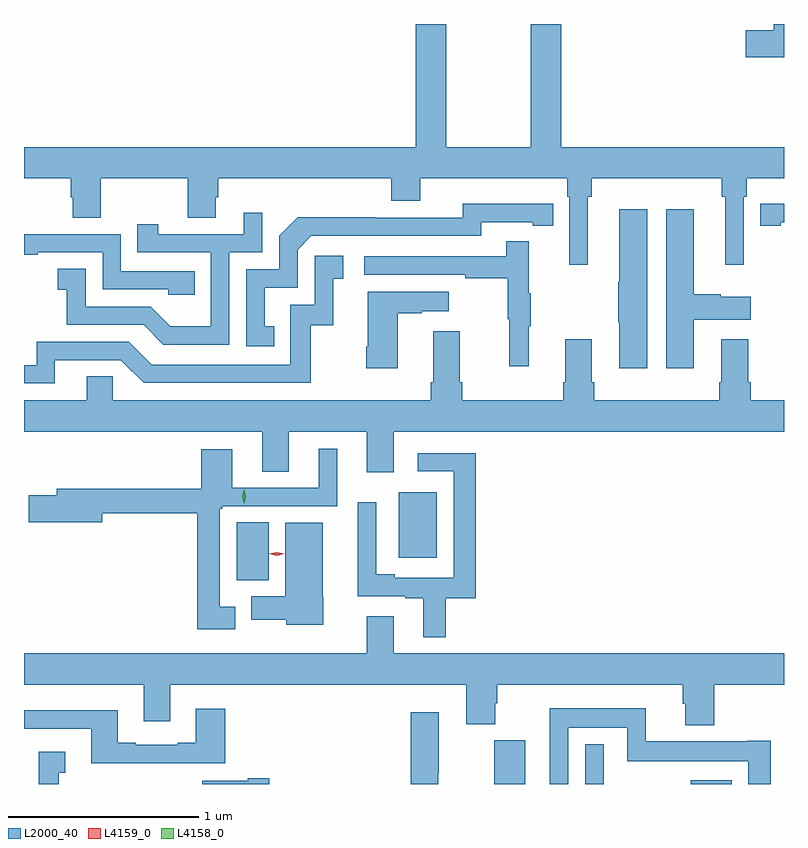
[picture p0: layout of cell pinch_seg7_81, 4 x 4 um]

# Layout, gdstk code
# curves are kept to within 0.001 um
import gdstk
lib = gdstk.Library(unit=1e-6, precision=1e-09)
def R(c, l, rs):  # rectangles x0, y0, x1, y1
    for r in rs: c.add(gdstk.rectangle(r[:2], r[2:], *l))
def P(c, l, *ps):  # polygons
    for p in ps: c.add(gdstk.Polygon(p, *l))
L2000_40 = (2000, 40)
L4158_0 = (4158, 0)
L4159_0 = (4159, 0)

pinch_seg7_81 = lib.new_cell('pinch_seg7_81')
R(pinch_seg7_81, L2000_40, [(881.96,1041.385,882.124,1041.615), (882.441,1041.385,882.537,1041.595), (882.995,1041.385,883.21,1041.406), (880.607,1042.457,880.774,1042.763), (881.459,1042.577,881.659,1042.921)])
P(pinch_seg7_81, L2000_40, [(882.454,1044.476),(882.473,1044.476),(882.473,1044.572),(883.159,1044.572),(883.159,1044.476),(883.178,1044.476),(883.178,1044.117),(883.275,1044.117),(883.275,1044.476),(883.289,1044.476),(883.289,1044.572),(883.486,1044.572),(883.486,1044.736),(882.314,1044.736),(882.314,1045.385),(882.154,1045.385),(882.154,1044.736),(881.709,1044.736),(881.709,1045.385),(881.549,1045.385),(881.549,1044.736),(879.486,1044.736),(879.486,1044.572),(879.731,1044.572),(879.731,1044.474),(879.743,1044.474),(879.743,1044.364),(879.891,1044.364),(879.891,1044.572),(880.348,1044.572),(880.348,1044.364),(880.495,1044.364),(880.495,1044.474),(880.508,1044.474),(880.508,1044.572),(881.42,1044.572),(881.42,1044.455),(881.572,1044.455),(881.572,1044.572),(882.344,1044.572),(882.344,1044.476),(882.357,1044.476),(882.357,1044.117),(882.454,1044.117)],
  [(883.486,1045.385),(883.433,1045.385),(883.433,1045.352),(883.284,1045.352),(883.284,1045.21),(883.486,1045.21)],
  [(883.468,1044.342),(883.486,1044.342),(883.486,1044.439),(883.468,1044.439),(883.468,1044.438),(883.36,1044.438),(883.36,1044.322),(883.468,1044.322)],
  [(880.802,1043.793),(880.753,1043.793),(880.753,1043.997),(880.926,1043.997),(880.926,1044.198),(880.998,1044.27),(881.892,1044.27),(881.892,1044.342),(882.164,1044.342),(882.164,1044.322),(882.272,1044.322),(882.272,1044.438),(881.796,1044.439),(881.796,1044.366),(881.336,1044.366),(881.336,1044.368),(880.928,1044.368),(880.83,1044.27),(880.83,1044.093),(880.656,1044.093),(880.656,1043.688),(880.802,1043.688)],
  [(883.012,1043.828),(883.312,1043.828),(883.312,1043.95),(883.154,1043.95),(883.154,1043.963),(883.012,1043.963),(883.012,1044.409),(882.866,1044.409),(882.866,1043.574),(883.012,1043.574)],
  [(882.766,1044.409),(882.62,1044.409),(882.62,1044.029),(882.613,1044.029),(882.613,1043.812),(882.62,1043.812),(882.62,1043.574),(882.766,1043.574)],
  [(880.566,1044.183),(880.74,1044.183),(880.74,1044.391),(880.643,1044.391),(880.643,1044.279),(880.192,1044.279),(880.192,1044.331),(880.081,1044.331),(880.081,1044.183),(880.47,1044.183),(880.47,1043.794),(880.256,1043.794),(880.152,1043.898),(879.81,1043.898),(879.81,1044.097),(879.663,1044.097),(879.663,1043.987),(879.712,1043.987),(879.712,1043.802),(880.115,1043.802),(880.22,1043.697),(880.566,1043.697)],
  [(880.385,1044.084),(879.996,1044.084),(879.996,1044.279),(879.486,1044.279),(879.486,1044.171),(879.559,1044.171),(879.559,1044.183),(879.9,1044.183),(879.9,1043.988),(880.245,1043.988),(880.245,1043.961),(880.385,1043.961)],
  [(882.143,1043.795),(882.154,1043.795),(882.154,1043.969),(882.143,1043.969),(882.143,1044.241),(882.025,1044.241),(882.025,1044.162),(881.277,1044.162),(881.277,1044.066),(881.809,1044.066),(881.809,1044.046),(882.033,1044.046),(882.033,1043.832),(882.04,1043.832),(882.04,1043.583),(882.143,1043.583)],
  [(879.649,1043.616),(879.996,1043.616),(880.116,1043.496),(880.996,1043.496),(880.996,1043.799),(881.114,1043.799),(881.114,1044.045),(881.167,1044.045),(881.167,1044.166),(881.016,1044.166),(881.016,1043.907),(880.887,1043.907),(880.887,1043.592),(880.158,1043.592),(880.038,1043.712),(879.552,1043.712),(879.552,1043.589),(879.486,1043.589),(879.486,1043.493),(879.649,1043.493)],
  [(881.452,1043.863),(881.579,1043.863),(881.579,1043.873),(881.722,1043.873),(881.722,1043.977),(881.294,1043.977),(881.294,1043.686),(881.287,1043.686),(881.287,1043.574),(881.452,1043.574)],
  [(881.431,1043.24),(883.486,1043.24),(883.486,1043.404),(883.31,1043.404),(883.31,1043.5),(883.297,1043.5),(883.297,1043.725),(883.157,1043.725),(883.157,1043.5),(883.145,1043.5),(883.145,1043.404),(882.488,1043.404),(882.488,1043.5),(882.475,1043.5),(882.475,1043.725),(882.335,1043.725),(882.335,1043.5),(882.323,1043.5),(882.323,1043.404),(881.792,1043.404),(881.792,1043.5),(881.779,1043.5),(881.779,1043.767),(881.639,1043.767),(881.639,1043.5),(881.627,1043.5),(881.627,1043.404),(879.954,1043.404),(879.954,1043.531),(879.815,1043.531),(879.815,1043.404),(879.486,1043.404),(879.486,1043.24),(880.739,1043.24),(880.739,1043.029),(880.879,1043.029),(880.879,1043.24),(881.291,1043.24),(881.291,1043.025),(881.431,1043.025)],
  [(880.598,1042.318),(880.515,1042.318),(880.515,1042.833),(880.53,1042.833),(880.53,1042.848),(881.134,1042.848),(881.134,1043.149),(881.036,1043.149),(881.036,1042.944),(880.582,1042.944),(880.582,1043.146),(880.418,1043.146),(880.418,1042.939),(879.659,1042.939),(879.659,1042.905),(879.51,1042.905),(879.51,1042.763),(879.898,1042.763),(879.898,1042.81),(880.399,1042.81),(880.399,1042.199),(880.598,1042.199)],
  [(881.705,1042.362),(881.864,1042.362),(881.864,1043.127),(881.559,1043.127),(881.559,1043.031),(881.748,1043.031),(881.748,1042.47),(881.437,1042.47),(881.437,1042.49),(881.34,1042.49),(881.34,1042.867),(881.243,1042.867),(881.243,1042.374),(881.492,1042.374),(881.492,1042.362),(881.588,1042.362),(881.588,1042.157),(881.705,1042.157)],
  [(881.062,1042.368),(881.059,1042.368),(881.059,1042.759),(880.862,1042.759),(880.862,1042.372),(880.683,1042.372),(880.683,1042.25),(880.866,1042.25),(880.866,1042.223),(881.062,1042.223)],
  [(883.118,1041.908),(883.486,1041.908),(883.486,1042.072),(881.431,1042.072),(881.431,1042.267),(881.291,1042.267),(881.291,1042.072),(879.486,1042.072),(879.486,1041.908),(880.115,1041.908),(880.115,1041.714),(880.255,1041.714),(880.255,1041.908),(881.813,1041.908),(881.813,1041.7),(881.965,1041.7),(881.965,1041.809),(881.978,1041.809),(881.978,1041.908),(882.953,1041.908),(882.953,1041.807),(882.965,1041.807),(882.965,1041.695),(883.118,1041.695)],
  [(882.351,1041.68),(882.66,1041.68),(882.66,1041.506),(883.299,1041.506),(883.299,1041.385),(883.415,1041.385),(883.415,1041.613),(883.292,1041.613),(883.292,1041.61),(882.758,1041.61),(882.758,1041.784),(882.254,1041.784),(882.254,1041.385),(882.351,1041.385)],
  [(880.544,1041.781),(880.391,1041.781),(880.391,1041.603),(880.295,1041.603),(880.295,1041.591),(880.075,1041.591),(880.075,1041.603),(879.979,1041.603),(879.979,1041.772),(879.486,1041.772),(879.486,1041.675),(879.839,1041.675),(879.839,1041.494),(880.544,1041.494)],
  [(881.667,1041.442),(881.668,1041.442),(881.668,1041.763),(881.522,1041.763),(881.522,1041.385),(881.667,1041.385)],
  [(879.67,1041.443),(879.703,1041.443),(879.703,1041.555),(879.563,1041.555),(879.563,1041.385),(879.67,1041.385)],
  [(880.777,1041.416),(880.664,1041.416),(880.664,1041.403),(880.424,1041.403),(880.424,1041.385),(880.777,1041.385)])
P(pinch_seg7_81, L4158_0, [(880.644,1042.861),(880.644,1042.861),(880.634,1042.897),(880.645,1042.933),(880.645,1042.933),(880.645,1042.933),(880.654,1042.897),(880.644,1042.861)])
P(pinch_seg7_81, L4159_0, [(880.817,1042.586),(880.778,1042.596),(880.778,1042.596),(880.778,1042.596),(880.817,1042.606),(880.857,1042.596),(880.857,1042.596),(880.857,1042.596)])

lib.write_gds('pinch_seg7_81.gds')
